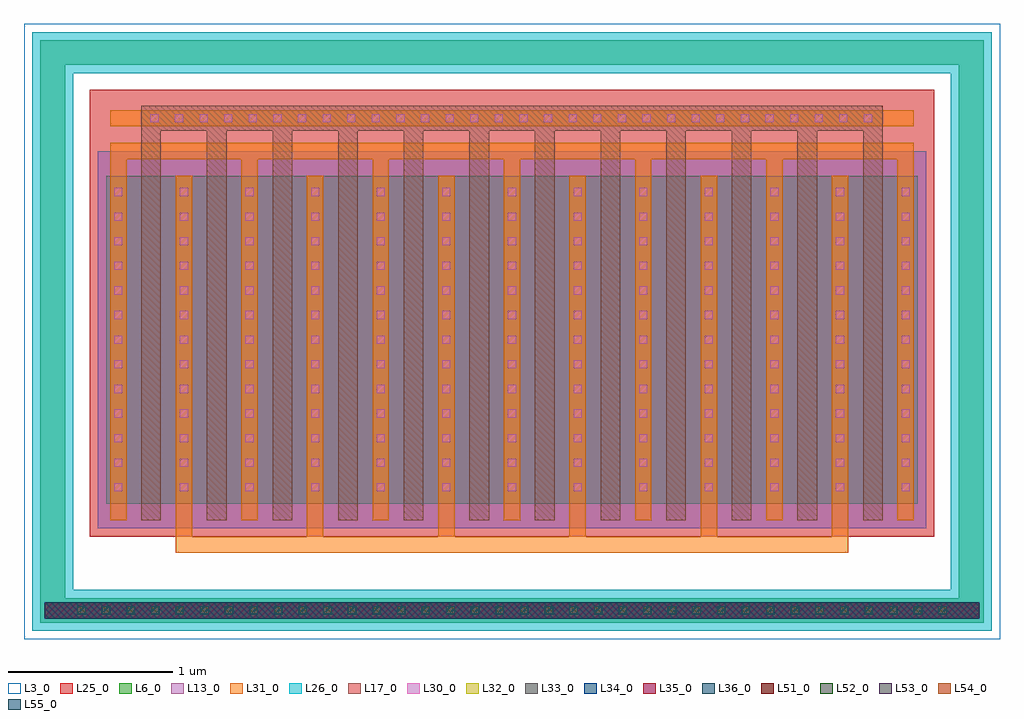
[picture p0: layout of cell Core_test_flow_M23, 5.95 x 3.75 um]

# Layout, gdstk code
import gdstk
lib = gdstk.Library(unit=1e-6, precision=1e-09)
def R(c, l, rs):  # rectangles x0, y0, x1, y1
    for r in rs: c.add(gdstk.rectangle(r[:2], r[2:], *l))
def A(c, l, x, y, w, h, nx, ny, dx, dy):  # array of equal rectangles
    R(c, l, [(x+i*dx, y+j*dy, x+i*dx+w, y+j*dy+h) for i in range(nx) for j in range(ny)])
L3_0 = (3, 0)
L6_0 = (6, 0)
L13_0 = (13, 0)
L17_0 = (17, 0)
L25_0 = (25, 0)
L26_0 = (26, 0)
L30_0 = (30, 0)
L31_0 = (31, 0)
L32_0 = (32, 0)
L33_0 = (33, 0)
L34_0 = (34, 0)
L35_0 = (35, 0)
L36_0 = (36, 0)
L51_0 = (51, 0)
L52_0 = (52, 0)
L53_0 = (53, 0)
L54_0 = (54, 0)
L55_0 = (55, 0)

core_test_flow_m23 = lib.new_cell('Core_test_flow_M23')
R(core_test_flow_m23, L3_0, [(-0.575,-0.775,5.375,2.975), (-0.125,-0.1,4.925,2.2)])
R(core_test_flow_m23, L6_0, [(-0.475,-0.675,-0.325,-0.525), (-0.325,-0.675,5.125,-0.525), (5.125,-0.675,5.275,-0.525), (-0.475,-0.525,-0.325,2.725), (5.125,-0.525,5.275,2.725), (-0.075,0.05,4.875,2.05), (-0.475,2.725,-0.325,2.875), (-0.325,2.725,5.125,2.875), (5.125,2.725,5.275,2.875)])
R(core_test_flow_m23, L13_0, [(-0.125,-0.1,4.925,2.2)])
A(core_test_flow_m23, L17_0, 0.14, -0.05, 0.12, 2.2, 12, 1, 0.4, 0)
A(core_test_flow_m23, L17_0, 0.14, 2.05, 0.12, 0.3, 12, 1, 0.4, 0)
R(core_test_flow_m23, L17_0, [(0.14,2.325,4.66,2.475)])
R(core_test_flow_m23, L25_0, [(-0.175,-0.15,4.975,2.575)])
R(core_test_flow_m23, L26_0, [(-0.525,-0.725,-0.275,-0.475), (-0.325,-0.725,5.125,-0.475), (5.075,-0.725,5.325,-0.475), (-0.525,-0.525,-0.275,2.725), (5.075,-0.525,5.325,2.725), (-0.525,2.675,-0.275,2.925), (-0.325,2.675,5.125,2.925), (5.075,2.675,5.325,2.925)])
A(core_test_flow_m23, L30_0, -0.25, -0.625, 0.05, 0.05, 36, 1, 0.15, 0)
A(core_test_flow_m23, L30_0, -0.025, 0.125, 0.05, 0.05, 13, 13, 0.4, 0.15)
A(core_test_flow_m23, L30_0, 0.195, 2.375, 0.05, 0.05, 30, 1, 0.15, 0)
A(core_test_flow_m23, L31_0, 0.35, -0.15, 0.1, 0.1, 6, 1, 0.8, 0)
A(core_test_flow_m23, L31_0, -0.05, -0.05, 0.1, 2.1, 13, 1, 0.4, 0)
A(core_test_flow_m23, L31_0, -0.05, 0.05, 0.1, 2, 13, 1, 0.4, 0)
A(core_test_flow_m23, L31_0, -0.05, 2.05, 0.1, 0.1, 7, 1, 0.8, 0)
R(core_test_flow_m23, L31_0, [(-0.45,-0.65,-0.35,-0.55), (-0.35,-0.65,-0.325,-0.55), (-0.325,-0.65,5.125,-0.55), (5.125,-0.65,5.15,-0.55), (5.15,-0.65,5.25,-0.55), (0.35,-0.25,4.45,-0.15), (-0.05,2.15,4.85,2.25), (-0.05,2.35,4.85,2.45), (0.14,2.35,4.66,2.45)])
R(core_test_flow_m23, L32_0, [(-0.45,-0.65,-0.35,-0.55), (-0.35,-0.65,-0.325,-0.55), (-0.325,-0.65,5.125,-0.55), (5.125,-0.65,5.15,-0.55), (5.15,-0.65,5.25,-0.55)])
R(core_test_flow_m23, L33_0, [(-0.45,-0.65,-0.35,-0.55), (-0.35,-0.65,-0.325,-0.55), (-0.325,-0.65,5.125,-0.55), (5.125,-0.65,5.15,-0.55), (5.15,-0.65,5.25,-0.55)])
R(core_test_flow_m23, L34_0, [(-0.45,-0.65,-0.35,-0.55), (-0.35,-0.65,-0.325,-0.55), (-0.325,-0.65,5.125,-0.55), (5.125,-0.65,5.15,-0.55), (5.15,-0.65,5.25,-0.55)])
R(core_test_flow_m23, L35_0, [(-0.45,-0.65,-0.35,-0.55), (-0.35,-0.65,-0.325,-0.55), (-0.325,-0.65,5.125,-0.55), (5.125,-0.65,5.15,-0.55), (5.15,-0.65,5.25,-0.55)])
R(core_test_flow_m23, L36_0, [(-0.45,-0.65,-0.35,-0.55), (-0.35,-0.65,-0.325,-0.55), (-0.325,-0.65,5.125,-0.55), (5.125,-0.65,5.15,-0.55), (5.15,-0.65,5.25,-0.55)])
A(core_test_flow_m23, L51_0, -0.25, -0.625, 0.05, 0.05, 36, 1, 0.15, 0)
A(core_test_flow_m23, L52_0, -0.25, -0.625, 0.05, 0.05, 36, 1, 0.15, 0)
A(core_test_flow_m23, L53_0, -0.25, -0.625, 0.05, 0.05, 36, 1, 0.15, 0)
A(core_test_flow_m23, L54_0, -0.25, -0.625, 0.05, 0.05, 36, 1, 0.15, 0)
A(core_test_flow_m23, L55_0, -0.25, -0.625, 0.05, 0.05, 36, 1, 0.15, 0)

lib.write_gds('Core_test_flow_M23.gds')
